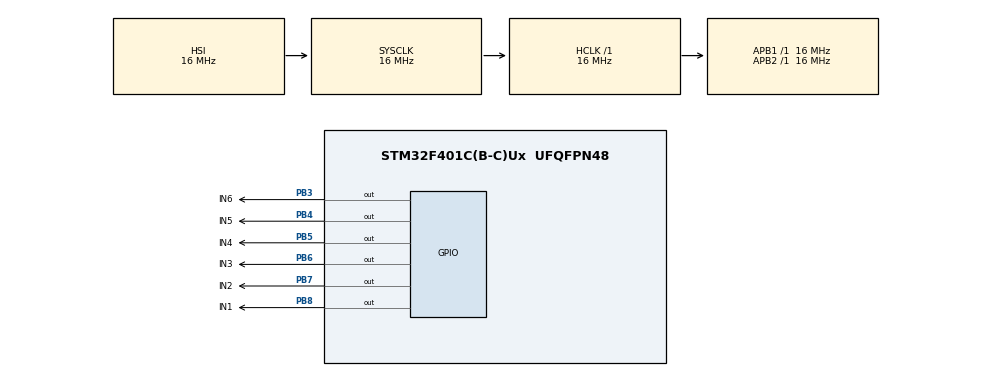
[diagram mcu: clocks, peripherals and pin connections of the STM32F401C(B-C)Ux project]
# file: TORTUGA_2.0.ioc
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Mcu.Family=STM32F4
Mcu.Name=STM32F401C(B-C)Ux
Mcu.Package=UFQFPN48
NVIC.PriorityGroup=NVIC_PRIORITYGROUP_4
PB3.GPIO_Label=IN6
PB3.Signal=GPIO_Output
PB4.GPIO_Label=IN5
PB4.Signal=GPIO_Output
PB5.GPIO_Label=IN4
PB5.Signal=GPIO_Output
PB6.GPIO_Label=IN3
PB6.Signal=GPIO_Output
PB7.GPIO_Label=IN2
PB7.Signal=GPIO_Output
PB8.GPIO_Label=IN1
PB8.Signal=GPIO_Output
ProjectManager.HeapSize=0x200
ProjectManager.StackSize=0x400
ProjectManager.TargetToolchain=CMake
RCC.AHBFreq_Value=16000000
RCC.APB1Freq_Value=16000000
RCC.APB2Freq_Value=16000000
RCC.CortexFreq_Value=16000000
RCC.HSE_VALUE=25000000
RCC.HSI_VALUE=16000000
RCC.LSE_VALUE=32768
RCC.SYSCLKFreq_VALUE=16000000
RCC.VCOOutputFreq_Value=192000000
board=custom

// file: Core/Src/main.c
/* USER CODE BEGIN Header */
/**
  ******************************************************************************
  * @file           : main.c
  * @brief          : Main program body
  ******************************************************************************
  * @attention
  *
  * Copyright (c) 2026 STMicroelectronics.
  * All rights reserved.
  *
  * This software is licensed under terms that can be found in the LICENSE file
  * in the root directory of this software component.
  * If no LICENSE file comes with this software, it is provided AS-IS.
  *
  ******************************************************************************
  */
/* USER CODE END Header */
#include "main.h"
#include "stm32f4xx_hal_gpio.h"

void SystemClock_Config(void);
static void MX_GPIO_Init(void);

/* USER CODE BEGIN 0 */
void adelante (){
	HAL_GPIO_WritePin(IN1_GPIO_Port, IN1_Pin, 0);
	HAL_GPIO_WritePin(IN2_GPIO_Port, IN2_Pin, 1);
	HAL_GPIO_WritePin(IN3_GPIO_Port, IN3_Pin, 1);
	HAL_GPIO_WritePin(IN4_GPIO_Port, IN4_Pin, 1);
	HAL_GPIO_WritePin(IN5_GPIO_Port, IN5_Pin, 0);
  HAL_GPIO_WritePin(IN6_GPIO_Port, IN6_Pin, 1);
}

void atras (){
	HAL_GPIO_WritePin(IN1_GPIO_Port, IN1_Pin, 1);
	HAL_GPIO_WritePin(IN2_GPIO_Port, IN2_Pin, 0);
	HAL_GPIO_WritePin(IN3_GPIO_Port, IN3_Pin, 1);
	HAL_GPIO_WritePin(IN4_GPIO_Port, IN4_Pin, 0);
  HAL_GPIO_WritePin(IN5_GPIO_Port, IN5_Pin, 1);
	HAL_GPIO_WritePin(IN6_GPIO_Port, IN6_Pin, 1);
}

void derecha (){
	HAL_GPIO_WritePin(IN1_GPIO_Port, IN1_Pin, 0);
	HAL_GPIO_WritePin(IN2_GPIO_Port, IN2_Pin, 1);
	HAL_GPIO_WritePin(IN3_GPIO_Port, IN3_Pin, 1);
	HAL_GPIO_WritePin(IN4_GPIO_Port, IN4_Pin, 0);
	HAL_GPIO_WritePin(IN5_GPIO_Port, IN5_Pin, 1);
	HAL_GPIO_WritePin(IN6_GPIO_Port, IN6_Pin, 1);
}

void izquierda (){
	HAL_GPIO_WritePin(IN1_GPIO_Port, IN1_Pin, 1);
	HAL_GPIO_WritePin(IN2_GPIO_Port, IN2_Pin, 0);
	HAL_GPIO_WritePin(IN3_GPIO_Port, IN3_Pin, 1);
	HAL_GPIO_WritePin(IN4_GPIO_Port, IN4_Pin, 1);
	HAL_GPIO_WritePin(IN5_GPIO_Port, IN5_Pin, 0);
	HAL_GPIO_WritePin(IN6_GPIO_Port, IN6_Pin, 1);
}
/* USER CODE END 0 */

int main(void)
{

  /* MCU Configuration--------------------------------------------------------*/

  /* Reset of all peripherals, Initializes the Flash interface and the Systick. */
  HAL_Init();

  /* Configure the system clock */
  SystemClock_Config();

  /* Initialize all configured peripherals */
  MX_GPIO_Init();

  /* Infinite loop */
  /* USER CODE BEGIN WHILE */
  while (1)
  {
    adelante();
    HAL_Delay(3000);
    derecha();
    HAL_Delay(1000);
    izquierda();
    HAL_Delay(1000);
    atras();
    HAL_Delay(2000);
    /* USER CODE END WHILE */

  }
}

void SystemClock_Config(void)
{
  RCC_OscInitTypeDef RCC_OscInitStruct = {0};
  RCC_ClkInitTypeDef RCC_ClkInitStruct = {0};

  /** Configure the main internal regulator output voltage
  */
  __HAL_RCC_PWR_CLK_ENABLE();
  __HAL_PWR_VOLTAGESCALING_CONFIG(PWR_REGULATOR_VOLTAGE_SCALE2);

  /** Initializes the RCC Oscillators according to the specified parameters
  * in the RCC_OscInitTypeDef structure.
  */
  RCC_OscInitStruct.OscillatorType = RCC_OSCILLATORTYPE_HSI;
  RCC_OscInitStruct.HSIState = RCC_HSI_ON;
  RCC_OscInitStruct.HSICalibrationValue = RCC_HSICALIBRATION_DEFAULT;
  RCC_OscInitStruct.PLL.PLLState = RCC_PLL_NONE;
  if (HAL_RCC_OscConfig(&RCC_OscInitStruct) != HAL_OK)
  {
    Error_Handler();
  }

  /** Initializes the CPU, AHB and APB buses clocks
  */
  RCC_ClkInitStruct.ClockType = RCC_CLOCKTYPE_HCLK|RCC_CLOCKTYPE_SYSCLK
                              |RCC_CLOCKTYPE_PCLK1|RCC_CLOCKTYPE_PCLK2;
  RCC_ClkInitStruct.SYSCLKSource = RCC_SYSCLKSOURCE_HSI;
  RCC_ClkInitStruct.AHBCLKDivider = RCC_SYSCLK_DIV1;
  RCC_ClkInitStruct.APB1CLKDivider = RCC_HCLK_DIV1;
  RCC_ClkInitStruct.APB2CLKDivider = RCC_HCLK_DIV1;

  if (HAL_RCC_ClockConfig(&RCC_ClkInitStruct, FLASH_LATENCY_0) != HAL_OK)
  {
    Error_Handler();
  }
}

static void MX_GPIO_Init(void)
{
  GPIO_InitTypeDef GPIO_InitStruct = {0};

  /* GPIO Ports Clock Enable */
  __HAL_RCC_GPIOB_CLK_ENABLE();

  /*Configure GPIO pin Output Level */
  HAL_GPIO_WritePin(GPIOB, IN6_Pin|IN5_Pin|IN4_Pin|IN3_Pin
                          |IN2_Pin|IN1_Pin, GPIO_PIN_RESET);

  /*Configure GPIO pins : IN6_Pin IN5_Pin IN4_Pin IN3_Pin
                           IN2_Pin IN1_Pin */
  GPIO_InitStruct.Pin = IN6_Pin|IN5_Pin|IN4_Pin|IN3_Pin
                          |IN2_Pin|IN1_Pin;
  GPIO_InitStruct.Mode = GPIO_MODE_OUTPUT_PP;
  GPIO_InitStruct.Pull = GPIO_NOPULL;
  GPIO_InitStruct.Speed = GPIO_SPEED_FREQ_LOW;
  HAL_GPIO_Init(GPIOB, &GPIO_InitStruct);

}

void Error_Handler(void)
{
  __disable_irq();
  while (1)
  {
  }
}
